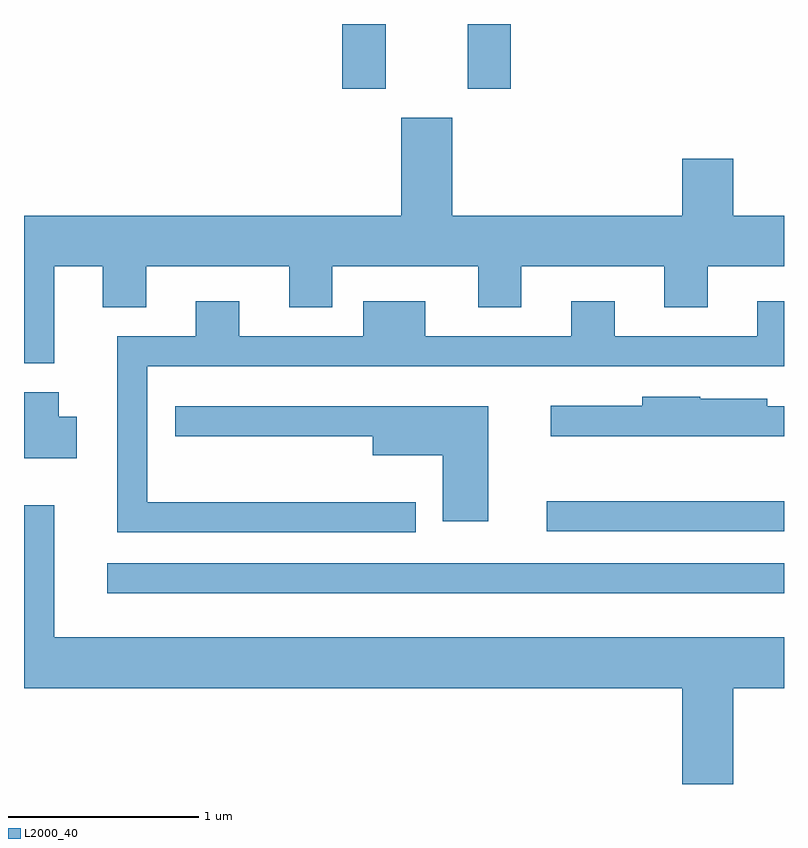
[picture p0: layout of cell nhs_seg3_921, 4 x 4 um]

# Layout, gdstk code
import gdstk
lib = gdstk.Library(unit=1e-6, precision=1e-09)
def R(c, l, rs):  # rectangles x0, y0, x1, y1
    for r in rs: c.add(gdstk.rectangle(r[:2], r[2:], *l))
def P(c, l, *ps):  # polygons
    for p in ps: c.add(gdstk.Polygon(p, *l))
L2000_40 = (2000, 40)

nhs_seg3_921 = lib.new_cell('nhs_seg3_921')
R(nhs_seg3_921, L2000_40, [(212.048,1190.896,215.611,1191.054), (214.363,1191.221,215.611,1191.379), (213.286,1193.551,213.514,1193.892), (213.946,1193.551,214.174,1193.892)])
P(nhs_seg3_921, L2000_40, [(211.769,1192.616),(212.026,1192.616),(212.026,1192.401),(212.254,1192.401),(212.254,1192.616),(213.006,1192.616),(213.006,1192.401),(213.234,1192.401),(213.234,1192.616),(214.001,1192.616),(214.001,1192.401),(214.229,1192.401),(214.229,1192.616),(214.981,1192.616),(214.981,1192.401),(215.209,1192.401),(215.209,1192.616),(215.611,1192.616),(215.611,1192.884),(215.344,1192.884),(215.344,1193.184),(215.076,1193.184),(215.076,1192.884),(213.864,1192.884),(213.864,1193.399),(213.596,1193.399),(213.596,1192.884),(211.611,1192.884),(211.611,1192.106),(211.769,1192.106)],
  [(213.673,1191.374),(212.259,1191.374),(212.259,1192.091),(215.611,1192.091),(215.611,1192.434),(215.471,1192.434),(215.471,1192.249),(214.719,1192.249),(214.719,1192.434),(214.491,1192.434),(214.491,1192.249),(213.724,1192.249),(213.724,1192.434),(213.396,1192.434),(213.396,1192.249),(212.744,1192.249),(212.744,1192.434),(212.516,1192.434),(212.516,1192.249),(212.101,1192.249),(212.101,1191.216),(213.673,1191.216)],
  [(211.889,1191.824),(211.794,1191.824),(211.794,1191.954),(211.611,1191.954),(211.611,1191.606),(211.889,1191.606)],
  [(215.611,1191.879),(215.524,1191.879),(215.524,1191.919),(215.17,1191.919),(215.17,1191.929),(214.866,1191.929),(214.866,1191.884),(214.383,1191.884),(214.383,1191.721),(215.611,1191.721)],
  [(214.054,1191.879),(212.408,1191.879),(212.408,1191.721),(213.446,1191.721),(213.446,1191.621),(213.816,1191.621),(213.816,1191.276),(214.054,1191.276)],
  [(215.344,1190.396),(215.611,1190.396),(215.611,1190.664),(211.769,1190.664),(211.769,1191.359),(211.611,1191.359),(211.611,1190.396),(215.076,1190.396),(215.076,1189.892),(215.344,1189.892)])

lib.write_gds('nhs_seg3_921.gds')
